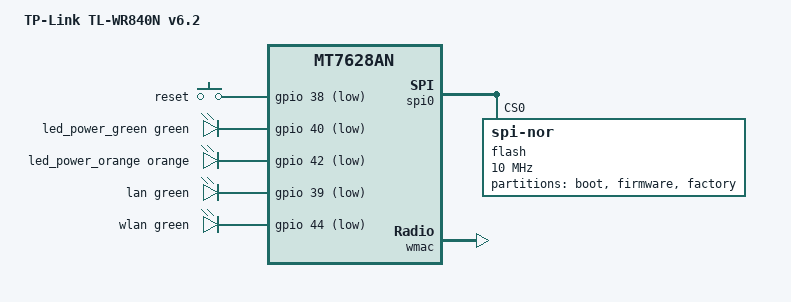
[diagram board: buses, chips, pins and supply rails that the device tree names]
#include "mt7628an.dtsi"

#include <dt-bindings/gpio/gpio.h>
#include <dt-bindings/input/input.h>
#include <dt-bindings/leds/common.h>

/ {
	compatible = "tplink,tl-wr840n-v6.2", "mediatek,mt7628an-soc";
	model = "TP-Link TL-WR840N v6.2";

	aliases {
		led-boot = &led_power_orange;
		led-failsafe = &led_power_green;
		led-running = &led_power_green;
		led-upgrade = &led_power_orange;
	};

	chosen {
		bootargs = "console=ttyS0,115200";
	};

	keys {
		compatible = "gpio-keys";

		reset {
			label = "reset";
			gpios = <&gpio 38 GPIO_ACTIVE_LOW>;
			linux,code = <KEY_RESTART>;
		};
	};

	leds {
		compatible = "gpio-leds";

		led_power_green: power_green {
			function = LED_FUNCTION_POWER;
			color = <LED_COLOR_ID_GREEN>;
			gpios = <&gpio 40 GPIO_ACTIVE_LOW>;
		};

		led_power_orange: power_orange {
			function = LED_FUNCTION_POWER;
			color = <LED_COLOR_ID_ORANGE>;
			gpios = <&gpio 42 GPIO_ACTIVE_LOW>;
		};

		lan {
			function = LED_FUNCTION_LAN;
			color = <LED_COLOR_ID_GREEN>;
			gpios = <&gpio 39 GPIO_ACTIVE_LOW>;
		};

		wlan {
			function = LED_FUNCTION_WLAN;
			color = <LED_COLOR_ID_GREEN>;
			gpios = <&gpio 44 GPIO_ACTIVE_LOW>;
		};
	};
};

&spi0 {
	status = "okay";

	flash@0 {
		compatible = "jedec,spi-nor";
		reg = <0>;
		spi-max-frequency = <10000000>;

		partitions {
			compatible = "fixed-partitions";
			#address-cells = <1>;
			#size-cells = <1>;

			partition@0 {
				label = "boot";
				reg = <0x0 0x10000>;
				read-only;
			};

			partition@10000 {
				compatible = "tplink,firmware";
				label = "firmware";
				reg = <0x10000 0x3e0000>;
			};

			partition@3f0000 {
				label = "factory";
				reg = <0x3f0000 0x10000>;
				read-only;

				nvmem-layout {
					compatible = "fixed-layout";
					#address-cells = <1>;
					#size-cells = <1>;

					eeprom_factory_0: eeprom@0 {
						reg = <0x0 0x400>;
					};

					macaddr_factory_f100: macaddr@f100 {
						reg = <0xf100 0x6>;
					};
				};
			};
		};
	};
};

&ehci {
	status = "disabled";
};

&ohci {
	status = "disabled";
};

&wmac {
	status = "okay";

	nvmem-cells = <&eeprom_factory_0>, <&macaddr_factory_f100>;
	nvmem-cell-names = "eeprom", "mac-address";
};

&ethernet {
	nvmem-cells = <&macaddr_factory_f100>;
	nvmem-cell-names = "mac-address";
};

&esw {
	mediatek,portmap = <0x3e>;
};

&state_default {
	gpio {
		groups = "p1led_an", "p3led_an", "p4led_an", "perst";
		function = "gpio";
	};
};
